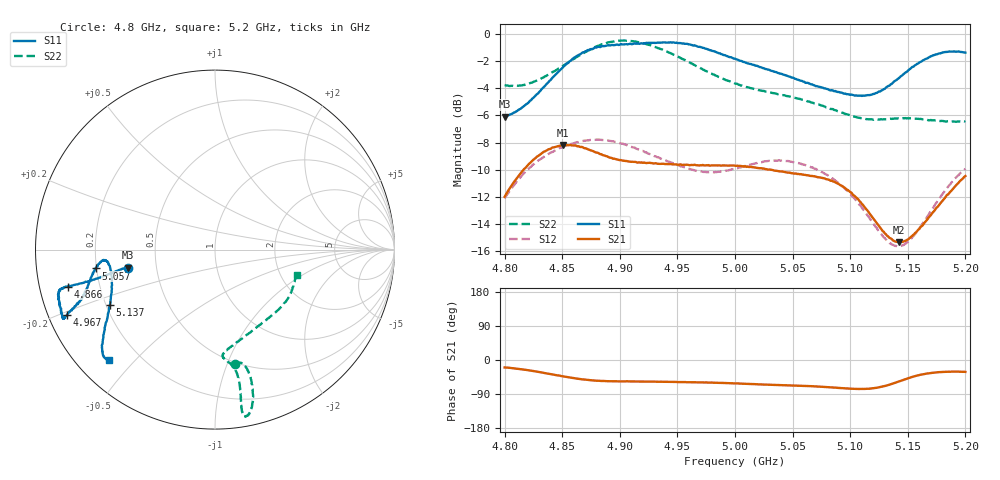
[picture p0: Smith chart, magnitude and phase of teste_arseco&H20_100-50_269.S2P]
! Network Analyzer HP8722D
! Hewlett-Packard
! Data name: Linha & Wilkinson
! Saver's name: Rodrigo Anjos
! Comments: Teste da utilização de aquisição
! continua pelo VNA HP8722D
! Time and date: 6/5/2025 14:48
!  Frequency  S11  S21  S12  S22
# HZ  S  MA R 50
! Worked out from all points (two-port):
!   401 points, 4.8 GHz to 5.2 GHz, reference 50 ohm
!   highest |S21| = -8.16 dB at 4.851 GHz (marker M1); lowest = -15.3 dB at 5.142 GHz (marker M2)
!   |S21| within 3 dB of the highest: 4.806 GHz to 5.092 GHz (286.5 MHz wide, 5.79 % of centre); 5.191549 GHz to end of sweep
!   lowest |S11| = -6.1 dB at 4.8 GHz (marker M3), VSWR 2.97, Z = 17 - j4.58 ohm
!   |S11| at or under -10 dB: nowhere
!   |S22| runs from -6.5 to -0.5 dB; largest |S21 - S12| = 0.62
!   S11 on the Smith chart (normalised r, x): 4.8 GHz: 0.34, -0.09; 4.866 GHz: 0.09, -0.12; 4.967 GHz: 0.06, -0.21; 5.057 GHz: 0.20, -0.08; 5.137 GHz: 0.22, -0.24; 5.2 GHz: 0.09, -0.43
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4.8e9  0.4966 -168.2  0.2516 -19.8  0.2486 -140.9  0.6483 -80.3
4.823e9  0.5704 -167.5  0.3382 -28.2  0.325 -143.8  0.6606 -75.9
4.851e9  0.7562 -165.8  0.3907 -43.4  0.3837 -149.2  0.7644 -74.5
4.866e9  0.8429 -165.9  0.3835 -50.5  0.4019 -151.9  0.8378 -75.3
4.867e9  0.8497 -165.9  0.3841 -50.9  0.4025 -152.0  0.843 -75.4
4.88e9  0.8902 -165.4  0.3661 -54.7  0.4084 -154.2  0.899 -76.7
4.899e9  0.9093 -162.8  0.3441 -56.5  0.3973 -156.7  0.9433 -79.1
4.934e9  0.9282 -156.5  0.3326 -57.5  0.3509 -155.7  0.8832 -80.5
4.967e9  0.8997 -156.3  0.3287 -58.9  0.3132 -148.0  0.7583 -79.7
5e9  0.8102 -159.0  0.3275 -61.8  0.3196 -137.2  0.6566 -81.3
5.034e9  0.7258 -165.2  0.3143 -65.9  0.3421 -134.2  0.6047 -85.6
5.057e9  0.6723 -171.0  0.3051 -67.9  0.3336 -135.9  0.5752 -84.8
5.067e9  0.6513 -173.1  0.3004 -69.1  0.3234 -136.7  0.5585 -82.6
5.085e9  0.6185 -174.4  0.2868 -72.7  0.2935 -138.4  0.5289 -75.8
5.102e9  0.5965 -171.6  0.2574 -75.8  0.2529 -138.7  0.4983 -65.9
5.117e9  0.5953 -164.8  0.218 -75.4  0.2093 -135.0  0.485 -55.0
5.134e9  0.6447 -154.4  0.178 -65.2  0.1702 -120.7  0.4869 -43.2
5.137e9  0.6606 -152.3  0.1742 -62.1  0.1678 -116.8  0.4875 -41.4
5.142e9  0.6855 -149.7  0.1715 -56.8  0.1662 -110.3  0.4888 -38.5
5.154e9  0.756 -144.5  0.181 -44.5  0.1791 -95.1  0.4886 -32.2
5.173e9  0.8352 -138.9  0.2235 -33.2  0.2329 -80.8  0.4814 -24.3
5.2e9  0.8524 -133.6  0.3002 -31.5  0.3195 -76.8  0.4776 -17.5
